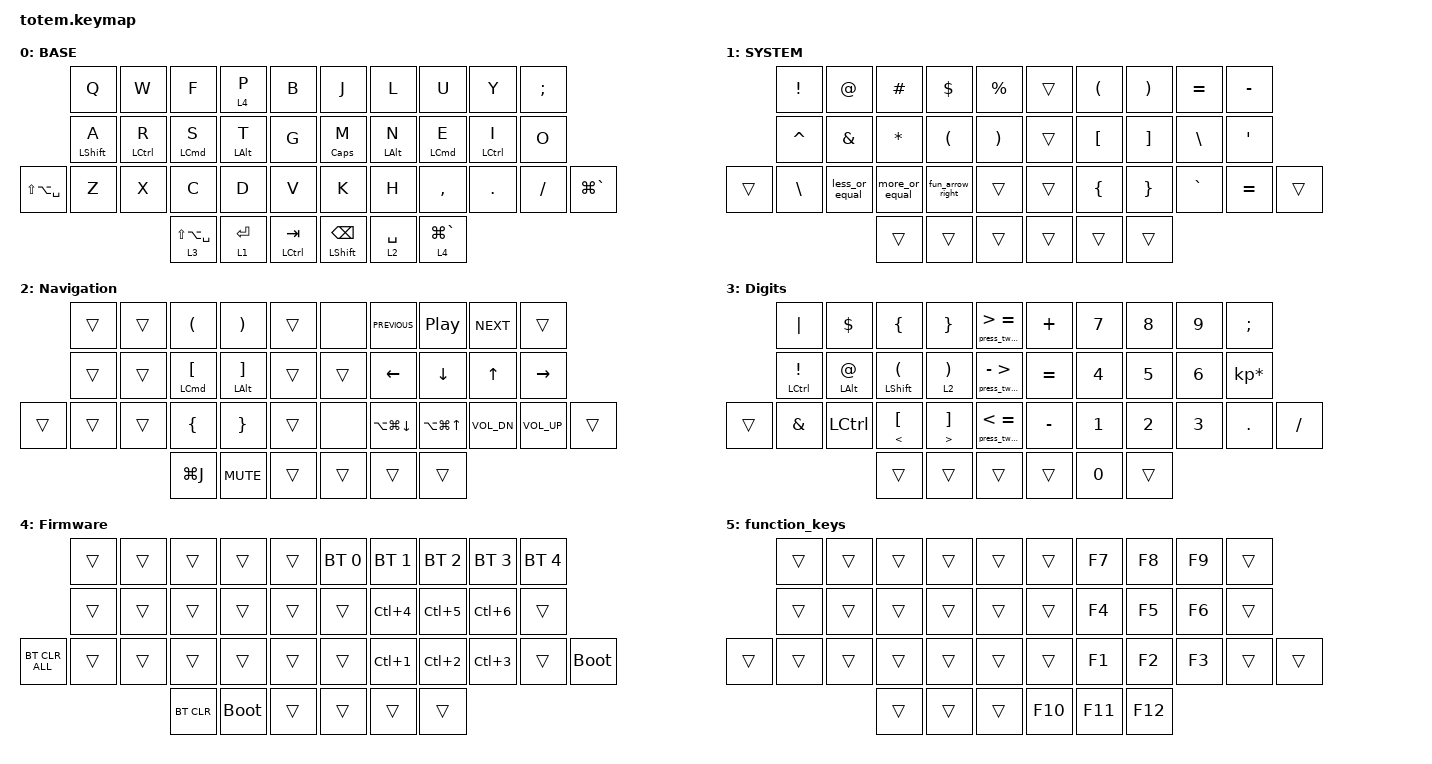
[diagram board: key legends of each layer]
//
//                                                        ▀▀▀▀▀     ▀▀▀▀▀          ▀▀█▀▀
//                                                        ▄▀▀▀▄  ▄  ▄▀▀▀▄  ▄  ▄▀▀▀▄  █  ▄▀▀▀▄
//                                                        █   █  █  █   █  █  █   █  █  █   █
//                                                         ▀▀▀   █   ▀▀▀   █   ▀▀▀   ▀   ▀▀▀
//                                                               █      ▄▄▄█▄▄▄    █   █
//                                                               ▀      █  █  █     █▄█
//                                                             ▀▀▀▀▀    █  █  █      ▀
//                                                                      ▀  ▀  ▀
//
// ▄▄▄▄▄▄▄▄▄▄▄▄▄▄▄▄▄▄▄▄▄▄▄▄▄▄▄▄▄▄▄▄▄▄▄▄▄▄▄▄▄▄▄▄▄▄▄▄▄▄▄▄▄▄▄▄▄▄▄▄▄▄▄▄▄▄▄▄▄▄▄▄▄▄▄▄▄▄▄▄▄▄▄▄▄▄▄▄▄▄▄▄▄▄▄▄▄▄▄▄▄▄▄▄▄▄▄▄▄▄▄▄▄▄▄▄▄▄▄▄▄▄▄▄▄▄▄▄▄▄▄▄▄▄▄▄▄▄▄▄▄▄▄▄▄▄▄▄▄

#include "zmk-helpers/helper.h"
#include "zmk-helpers/key-labels/totem.h"
#include <behaviors.dtsi>
#include <dt-bindings/zmk/bt.h>
#include <dt-bindings/zmk/keys.h>

#define BASE 0
#define NAV  1
#define DIG  2
#define SYS  3
#define QUICK_TAP_MS 175

/* Timeless homerow mods */
// https://github.com/urob/zmk-config/tree/main#timeless-homerow-mods

#define KEYS_L LT0 LT1 LT2 LT3 LT4 LM0 LM1 LM2 LM3 LM4 LB0 LB1 LB2 LB3 LB4 LB5  // left hand
#define KEYS_R RT0 RT1 RT2 RT3 RT4 RM0 RM1 RM2 RM3 RM4 RB0 RB1 RB2 RB3 RB4 RB5  // right hand
#define THUMBS LH2 LH1 LH0 RH0 RH1 RH2 // thumb cluster for both hands

// proper urob's home row, uncomment it if you are not going to use visual editor
//#define MAKE_HRM(NAME, HOLD, TAP, TRIGGER_POS) \
//    ZMK_HOLD_TAP(NAME, \
//        flavor = "balanced"; \
//        tapping-term-ms = <280>; \
//        quick-tap-ms = <QUICK_TAP_MS>; \
//        require-prior-idle-ms = <150>; \
//        bindings = <HOLD>, <TAP>; \
//        hold-trigger-key-positions = <TRIGGER_POS>; \
//        hold-trigger-on-release; \
//    )
//
//MAKE_HRM(hml, &kp, &kp, KEYS_R THUMBS)  // left-hand HRMs
//MAKE_HRM(hmr, &kp, &kp, KEYS_L THUMBS)  // right-hand HRMs
//MAKE_HRM(hml_layer, &mo, &kp, KEYS_R THUMBS) // switch layer like HRM

&mt {
    flavor = "balanced";
    tapping-term-ms = <200>;
};

&lt { flavor = "balanced"; };

/ {
    combos {
        compatible = "zmk,combos";

        esc {
            bindings = <&kp ESCAPE>;
            key-positions = <12 17>;
            timeout-ms = <35>;
        };
    };

    macros {
        /**
         * Temporarily switches to a layer (`&mo`) while a modifier is held.
         * Analogous to QMK's `LM()`, using a parameterized macro.
         *
         * Params:
         *  1. Layer to switch to
         *  2. Modifier to press while layer is active
         *
         * Example:
         *  `&lm NUM_LAYER LSHIFT`
         */

        lm: lm {
            compatible = "zmk,behavior-macro-two-param";
            wait-ms = <0>;
            tap-ms = <0>;
            #binding-cells = <2>;
            bindings =
                <&macro_param_1to1>,
                <&macro_press>,
                <&mo MACRO_PLACEHOLDER &macro_param_2to1>,
                <&macro_press>,
                <&kp MACRO_PLACEHOLDER>,
                <&macro_pause_for_release>,
                <&macro_param_2to1>,
                <&macro_release>,
                <&kp MACRO_PLACEHOLDER &macro_param_1to1>,
                <&macro_release>,
                <&mo MACRO_PLACEHOLDER>;
        };

        press_two_keys: press_two_keys {
            compatible = "zmk,behavior-macro-two-param";
            wait-ms = <0>;
            tap-ms = <0>;
            #binding-cells = <2>;
            bindings =
                <&macro_param_1to1>,
                <&macro_tap>,
                <&kp MACRO_PLACEHOLDER &macro_param_2to1>,
                <&macro_tap>,
                <&kp MACRO_PLACEHOLDER>;
        };

        more_or_equal: more_or_equal {
            compatible = "zmk,behavior-macro";
            #binding-cells = <0>;
            bindings = <&kp MINUS &kp GT>;
            label = "MORE_OR_EQUAL";
        };

        less_or_equal: less_or_equal {
            compatible = "zmk,behavior-macro";
            #binding-cells = <0>;
            bindings = <&kp LT &kp EQUAL>;
            label = "LESS_OR_EQUAL";
        };

        fun_arrow_right: fun_arrow_right {
            compatible = "zmk,behavior-macro";
            #binding-cells = <0>;
            bindings = <&kp EQUAL &kp GT>;
            label = "FUN_ARROW_RIGHT";
        };

        comment: comment {
            compatible = "zmk,behavior-macro";
            #binding-cells = <0>;
            bindings = <&kp FSLH &kp STAR>;
            label = "MACROS_COMMENT";
        };
    };

    behaviors {
        // this is homerow mod that works identical to urob's one, but this one allows visual editor to understand

        hml: hml {
            compatible = "zmk,behavior-hold-tap";
            label = "HML";
            bindings = <&kp>, <&kp>;

            #binding-cells = <2>;
            tapping-term-ms = <400>;
            flavor = "balanced";
            hold-trigger-key-positions = <KEYS_R THUMBS>;
            hold-trigger-on-release;
            quick-tap-ms = <200>;
            require-prior-idle-ms = <150>;
        };

        hmr: hmr {
            compatible = "zmk,behavior-hold-tap";
            label = "HMR";
            bindings = <&kp>, <&kp>;

            #binding-cells = <2>;
            tapping-term-ms = <280>;
            quick-tap-ms = <175>;
            require-prior-idle-ms = <150>;
            flavor = "balanced";
            hold-trigger-key-positions = <KEYS_L THUMBS>;
            hold-trigger-on-release;
        };

        comment_or: comment_or {
            compatible = "zmk,behavior-hold-tap";
            label = "slash_or_comm";
            bindings = <&comment>, <&kp>;

            #binding-cells = <2>;
            tapping-term-ms = <200>;
            flavor = "tap-preferred";
        };
    };

    keymap {
        compatible = "zmk,keymap";

        Colmak {
            label = "BASE";
            bindings = <
                   &kp Q             &kp W        &kp F                &lt 4 P         &kp B                   &kp J                     &kp L           &kp U               &kp Y               &kp SEMICOLON
                   &mt LEFT_SHIFT A  &mt LCTRL R  &mt LEFT_COMMAND S   &mt LEFT_ALT T  &kp G                   &mt CAPS M                &mt LEFT_ALT N  &mt LEFT_COMMAND E  &mt LEFT_CONTROL I  &kp O
&kp LS(LA(SPACE))  &kp Z             &kp X        &kp C                &kp D           &kp V                   &kp K                     &kp H           &kp COMMA           &kp DOT             &kp SLASH      &kp LG(GRAVE)
                                                  &lt 3 LS(LA(SPACE))  &lt 1 ENTER     &mt LEFT_CONTROL TAB    &mt LEFT_SHIFT BACKSPACE  &lt 2 SPACE     &lt 4 LG(GRAVE)
            >;
        };

        sim_layer {
            label = "SYSTEM";
            bindings = <
        &kp EXCLAMATION  &kp AT_SIGN     &kp HASH        &kp DOLLAR            &kp PERCENT              &trans  &kp LEFT_PARENTHESIS  &kp RIGHT_PARENTHESIS  &kp EQUAL      &kp MINUS
        &kp CARET        &kp AMPERSAND   &kp ASTERISK    &kp LEFT_PARENTHESIS  &kp RIGHT_PARENTHESIS    &trans  &kp LEFT_BRACKET      &kp RIGHT_BRACKET      &kp BACKSLASH  &kp SQT
&trans  &kp BACKSLASH    &less_or_equal  &more_or_equal  &fun_arrow_right      &trans                   &trans  &kp LEFT_BRACE        &kp RIGHT_BRACE        &kp GRAVE      &kp EQUAL  &trans
                                         &trans          &trans                &trans                   &trans  &trans                &trans
            >;
        };

        Navigation {
            label = "Navigation";
            bindings = <
        &trans  &trans  &kp LEFT_PARENTHESIS           &kp RIGHT_PARENTHESIS   &trans    &none   &kp C_PREVIOUS    &kp C_PLAY_PAUSE      &kp C_NEXT    &trans
        &trans  &trans  &mt LEFT_COMMAND LEFT_BRACKET  &mt LALT RIGHT_BRACKET  &trans    &trans  &kp LEFT          &kp DOWN              &kp UP_ARROW  &kp RIGHT
&trans  &trans  &trans  &kp LEFT_BRACE                 &kp RIGHT_BRACE         &trans    &none   &kp LA(LG(DOWN))  &kp LA(LG(UP_ARROW))  &kp C_VOL_DN  &kp C_VOL_UP  &trans
                        &kp LG(J)                      &kp K_MUTE              &trans    &trans  &trans            &trans
            >;
        };

        digits {
            label = "Digits";
            bindings = <
        &kp PIPE                &kp DOLLAR             &kp LEFT_BRACE              &kp RIGHT_BRACE                 &press_two_keys GREATER_THAN EQUAL    &kp PLUS   &kp N7  &kp N8  &kp N9  &kp SEMICOLON
        &hml LCTRL EXCLAMATION  &hml LEFT_ALT AT_SIGN  &mt LSHFT LEFT_PARENTHESIS  &lt 2 RIGHT_PARENTHESIS         &press_two_keys MINUS GREATER_THAN    &kp EQUAL  &kp N4  &kp N5  &kp N6  &kp KP_MULTIPLY
&trans  &kp AMPERSAND           &kp LCTRL              &mt LESS_THAN LEFT_BRACKET  &mt GREATER_THAN RIGHT_BRACKET  &press_two_keys LESS_THAN EQUAL       &kp MINUS  &kp N1  &kp N2  &kp N3  &kp PERIOD       &kp SLASH
                                                       &trans                      &trans                          &trans                                &trans     &kp N0  &trans
            >;
        };

        Firmware {
            bindings = <
                &trans  &trans  &trans      &trans       &trans    &bt BT_SEL 0  &bt BT_SEL 1      &bt BT_SEL 2      &bt BT_SEL 3      &bt BT_SEL 4
                &trans  &trans  &trans      &trans       &trans    &trans        &kp LC(NUMBER_4)  &kp LC(N5)        &kp LC(NUMBER_6)  &trans
&bt BT_CLR_ALL  &trans  &trans  &trans      &trans       &trans    &trans        &kp LC(NUMBER_1)  &kp LC(NUMBER_2)  &kp LC(NUMBER_3)  &trans        &bootloader
                                &bt BT_CLR  &bootloader  &trans    &trans        &trans            &trans
            >;
        };

        function_keys {
            bindings = <
        &trans  &trans  &trans  &trans  &trans    &trans   &kp F7   &kp F8   &kp F9  &trans
        &trans  &trans  &trans  &trans  &trans    &trans   &kp F4   &kp F5   &kp F6  &trans
&trans  &trans  &trans  &trans  &trans  &trans    &trans   &kp F1   &kp F2   &kp F3  &trans  &trans
                        &trans  &trans  &trans    &kp F10  &kp F11  &kp F12
            >;
        };
    };
};
